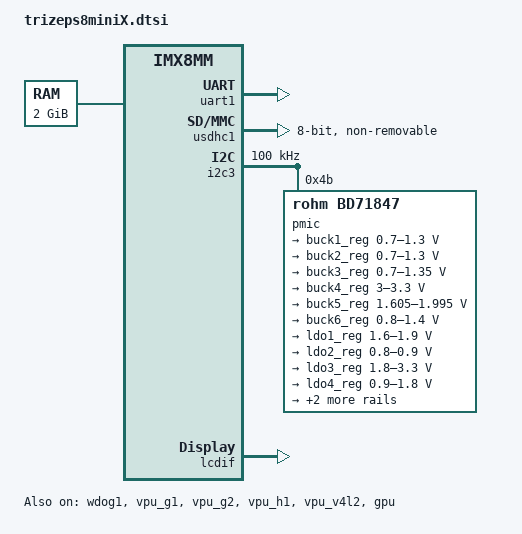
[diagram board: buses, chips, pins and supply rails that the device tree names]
/*
 * Copyright 2020 Keith & Koep GmbH
 */

/*
Switches:
    TRIZEPS8MINI_V1R1                   Use V1R1 (engineering sample), whcih use GPIO1_2 as Reset instead of Watchdog-Reset                      			

    TRIZEPS8MINI_USDHC1_VQMMC_MCU	For UHS: Control VQMMC voltage of internal uSD-Card.
    TRIZEPS8MINI_USDHC2_VQMMC_MCU	For UHS: Control VQMMC voltage of external uSD-Card. 
    There is only one VQMMC-switch on the Trizeps module. 

    Module with eMMC:   	      	VQMMC of eMMC fixed to +1V8 and VQMMC of ext. uSD fixed to +3V3   
                        		Special mounting exist to switch ext. uSD voltage: Use TRIZEPS8MINI_USDHC2_VQMMC_MCU in that case.
			
    Module with uSD:			VQMMC of int. uSD switchable (+3V3/+1V8) and VQMMC of ext. uSD fixed to +3V3. 
                        		May use TRIZEPS8MINI_USDHC1_VQMMC_MCU to allow UHS.
    
    ETHERNET_ONLY_100MBIT		Reduce Ethernet to 100MBit in case extra lanes for 1GBit are not connected on the baseboard.

    TRIZEPS8MINI_BT_SCO_XTOR		Special audio-driver for Bluetooth.

*/

#include "imx8mm.dtsi"
#include "trizeps8mini-pinfunc.h"

/ {
	memory@40000000 {
		device_type = "memory";
		reg = <0x0 0x40000000 0 0x80000000>;
	};
};

&A53_0 {
	cpu-supply = <&buck2_reg>;
};

&A53_1 {
	cpu-supply = <&buck2_reg>;
};

&A53_2 {
	cpu-supply = <&buck2_reg>;
};

&A53_3 {
	cpu-supply = <&buck2_reg>;
};


&snvs_pwrkey {
	status = "disabled";
};

&uart1 { /* FFUART */
	pinctrl-names = "default";
	pinctrl-0 = <&pinctrl_uart1>;
	assigned-clocks = <&clk IMX8MM_CLK_UART1>;
	assigned-clock-parents = <&clk IMX8MM_SYS_PLL1_80M>;
	fsl,uart-has-rtscts;
	status = "okay";
};


&usdhc1 {
	pinctrl-names = "default", "state_100mhz", "state_200mhz";
	pinctrl-0 = <&pinctrl_usdhc1>, <&pinctrl_usdhc1_gpio>;
	pinctrl-1 = <&pinctrl_usdhc1_100mhz>, <&pinctrl_usdhc1_gpio>;
	pinctrl-2 = <&pinctrl_usdhc1_200mhz>, <&pinctrl_usdhc1_gpio>;
	bus-width = <8>;
//	vmmc-supply = <&reg_usdhc1_vmmc>;
	non-removable;
#if defined(TRIZEPS8MINI_USDHC1_VQMMC_MCU) && (TRIZEPS8MINI_USDHC1_VQMMC_MCU==1)
    vqmmc-supply = <&mcutouch>;
#else
    no-1-8-v;    
#endif
	status = "okay";
};


&wdog1 {
#if  !defined(TRIZEPS8MINI_V1R1) && (TRIZEPS8MINI_V1R1==0)    
	pinctrl-names = "default";
	pinctrl-0 = <&pinctrl_wdog>;
	fsl,ext-reset-output;
#endif    
	status = "okay";
};

&i2c3 { /* Internal I2C */
	clock-frequency = <100000>;
	pinctrl-names = "default";
	pinctrl-0 = <&pinctrl_i2c3>;
	status = "okay";

	pmic@4b {
		compatible = "rohm,bd71847";
		reg = <0x4b>;
		rohm,reset-snvs-powered;

		regulators {
			buck1_reg: BUCK1 {  // VDD_SOC_0V8
				regulator-name = "BUCK1";
				regulator-min-microvolt = <700000>;
				regulator-max-microvolt = <1300000>;
				regulator-boot-on;
				regulator-always-on;
				regulator-ramp-delay = <1250>;
			};

			buck2_reg: BUCK2 {  // VDD_SOC_0V9
				regulator-name = "BUCK2";
				regulator-min-microvolt = <700000>;
				regulator-max-microvolt = <1300000>;
				regulator-boot-on;
				regulator-always-on;
				regulator-ramp-delay = <1250>;
				rohm,dvs-run-voltage = <1000000>;
				rohm,dvs-idle-voltage = <900000>;
			};

			buck3_reg: BUCK3 {  // VDD_DRAM_PU_0V9
				// BUCK5 in datasheet
				regulator-name = "BUCK3";
				regulator-min-microvolt = <700000>;
				regulator-max-microvolt = <1350000>;
				regulator-boot-on;
				regulator-always-on;
			};

			buck4_reg: BUCK4 {  // +3V3_AUX
				// BUCK6 in datasheet
				regulator-name = "BUCK4";
				regulator-min-microvolt = <3000000>;
				regulator-max-microvolt = <3300000>;
				regulator-boot-on;
				regulator-always-on;
			};

			buck5_reg: BUCK5 {  // VDD_1V8
				// BUCK7 in datasheet
				regulator-name = "BUCK5";
				regulator-min-microvolt = <1605000>;
				regulator-max-microvolt = <1995000>;
				regulator-boot-on;
				regulator-always-on;
			};

			buck6_reg: BUCK6 {  // NVCC_DRAM_1V1
				// BUCK8 in datasheet
				regulator-name = "BUCK6";
				regulator-min-microvolt = <800000>;
				regulator-max-microvolt = <1400000>;
				regulator-boot-on;
				regulator-always-on;
			};

			ldo1_reg: LDO1 {    // NVCC_SNVS_1V8
				regulator-name = "LDO1";
				regulator-min-microvolt = <1600000>;
				regulator-max-microvolt = <1900000>;
				regulator-boot-on;
				regulator-always-on;
			};

			ldo2_reg: LDO2 {    // VDD_SNVS_0V8
				regulator-name = "LDO2";
				regulator-min-microvolt = <800000>;
				regulator-max-microvolt = <900000>;
				regulator-boot-on;
				regulator-always-on;
			};

			ldo3_reg: LDO3 {    // VDDA_1V8
				regulator-name = "LDO3";
				regulator-min-microvolt = <1800000>;
				regulator-max-microvolt = <3300000>;
				regulator-boot-on;
				regulator-always-on;
			};

			ldo4_reg: LDO4 {    // VDD_PHY_0V9
				regulator-name = "LDO4";
				regulator-min-microvolt = <900000>;
				regulator-max-microvolt = <1800000>;
				regulator-boot-on;
				regulator-always-on;
			};

			ldo5_reg: LDO5 {    // VDD_FPGA_MIPI
				regulator-name = "LDO5";
				regulator-min-microvolt = <800000>;
				regulator-max-microvolt = <3300000>;
				regulator-boot-on;
				regulator-always-on;
			};

			ldo6_reg: LDO6 {    // VDD_PHY_1V2
				regulator-name = "LDO6";
				regulator-min-microvolt = <900000>;
				regulator-max-microvolt = <1800000>;
				regulator-boot-on;
				regulator-always-on;
			};
		};
	};
};


&iomuxc {
	pinctrl-names = "default";

	pinctrl_i2c3: i2c3grp {
		fsl,pins = <
			MX8MM_IOMUXC_I2C3_SCL_I2C3_SCL			0x400001c3
			MX8MM_IOMUXC_I2C3_SDA_I2C3_SDA			0x400001c3
		>;
	};



	pinctrl_uart1: uart1grp {
		fsl,pins = <
			MX8MM_IOMUXC_UART1_RXD_UART1_DCE_RX	0x140
			MX8MM_IOMUXC_UART1_TXD_UART1_DCE_TX	0x140
		>;
	};

	pinctrl_usdhc1_gpio: usdhc1grpgpio {
		fsl,pins = <
			MX8MM_IOMUXC_SD1_RESET_B_USDHC1_RESET_B	0xc1
		>;
	};

		pinctrl_usdhc1: usdhc1grp {
			fsl,pins = <
				MX8MM_IOMUXC_SD1_CLK_USDHC1_CLK		0x190
				MX8MM_IOMUXC_SD1_CMD_USDHC1_CMD		0x1d0
				MX8MM_IOMUXC_SD1_DATA0_USDHC1_DATA0	0x1d0
				MX8MM_IOMUXC_SD1_DATA1_USDHC1_DATA1	0x1d0
				MX8MM_IOMUXC_SD1_DATA2_USDHC1_DATA2	0x1d0
				MX8MM_IOMUXC_SD1_DATA3_USDHC1_DATA3	0x1d0
				MX8MM_IOMUXC_SD1_DATA4_USDHC1_DATA4	0x1d0
				MX8MM_IOMUXC_SD1_DATA5_USDHC1_DATA5	0x1d0
				MX8MM_IOMUXC_SD1_DATA6_USDHC1_DATA6	0x1d0
				MX8MM_IOMUXC_SD1_DATA7_USDHC1_DATA7	0x1d0
				MX8MM_IOMUXC_SD1_STROBE_USDHC1_STROBE	0x190			
			>;
		};

		pinctrl_usdhc1_100mhz: usdhc1grp100mhz {
			fsl,pins = <
				MX8MM_IOMUXC_SD1_CLK_USDHC1_CLK		0x194
				MX8MM_IOMUXC_SD1_CMD_USDHC1_CMD		0x1d4
				MX8MM_IOMUXC_SD1_DATA0_USDHC1_DATA0	0x1d4
				MX8MM_IOMUXC_SD1_DATA1_USDHC1_DATA1	0x1d4
				MX8MM_IOMUXC_SD1_DATA2_USDHC1_DATA2	0x1d4
				MX8MM_IOMUXC_SD1_DATA3_USDHC1_DATA3	0x1d4
				MX8MM_IOMUXC_SD1_DATA4_USDHC1_DATA4	0x1d4
				MX8MM_IOMUXC_SD1_DATA5_USDHC1_DATA5	0x1d4
				MX8MM_IOMUXC_SD1_DATA6_USDHC1_DATA6	0x1d4
				MX8MM_IOMUXC_SD1_DATA7_USDHC1_DATA7	0x1d4
				MX8MM_IOMUXC_SD1_STROBE_USDHC1_STROBE	0x194
			>;
		};

		pinctrl_usdhc1_200mhz: usdhc1grp200mhz {
			fsl,pins = <
				MX8MM_IOMUXC_SD1_CLK_USDHC1_CLK		0x196
				MX8MM_IOMUXC_SD1_CMD_USDHC1_CMD		0x1d6
				MX8MM_IOMUXC_SD1_DATA0_USDHC1_DATA0	0x1d6
				MX8MM_IOMUXC_SD1_DATA1_USDHC1_DATA1	0x1d6
				MX8MM_IOMUXC_SD1_DATA2_USDHC1_DATA2	0x1d6
				MX8MM_IOMUXC_SD1_DATA3_USDHC1_DATA3	0x1d6
				MX8MM_IOMUXC_SD1_DATA4_USDHC1_DATA4	0x1d6
				MX8MM_IOMUXC_SD1_DATA5_USDHC1_DATA5	0x1d6
				MX8MM_IOMUXC_SD1_DATA6_USDHC1_DATA6	0x1d6
				MX8MM_IOMUXC_SD1_DATA7_USDHC1_DATA7	0x1d6
				MX8MM_IOMUXC_SD1_STROBE_USDHC1_STROBE	0x196
			>;
		};

	pinctrl_wdog: wdoggrp {
		fsl,pins = <
			MX8MM_IOMUXC_GPIO1_IO02_WDOG1_WDOG_B	0xc6
		>;
	};        
};

&lcdif {
	status = "okay";
};

&vpu_g1 {
	status = "okay";
};

&vpu_g2 {
	status = "okay";
};

&vpu_h1 {
	status = "okay";
};

&vpu_v4l2 {
	status = "okay";
};

&gpu {
	status = "okay";
};
